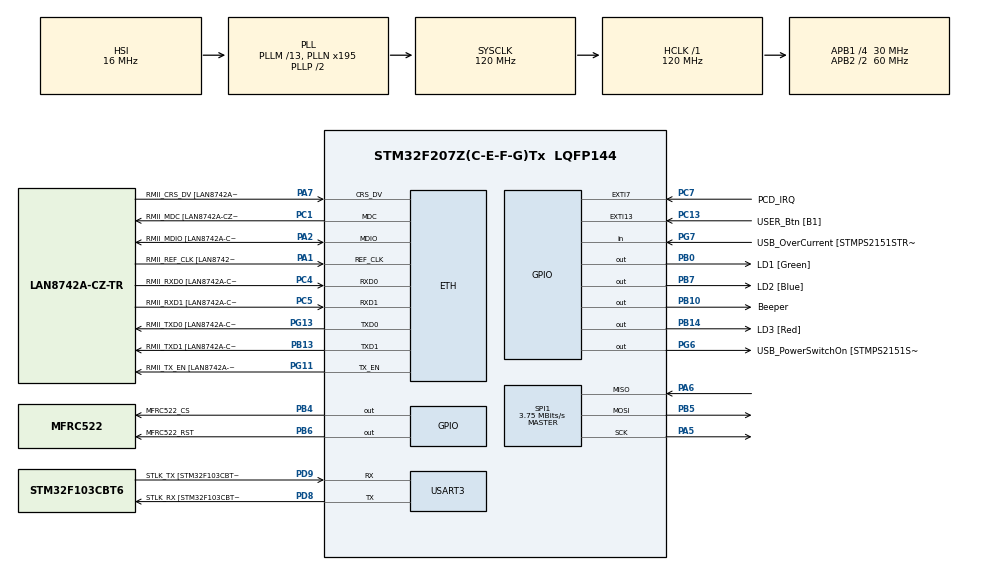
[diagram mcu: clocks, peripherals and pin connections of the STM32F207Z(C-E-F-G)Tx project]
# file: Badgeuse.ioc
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ETH.MediaInterface=ETH_MEDIA_INTERFACE_RMII
ETH.PHY_Name=LAN8742A_PHY_ADDRESS
ETH.PHY_Value=0
ETH.PhyAddress=0
LWIP.GATEWAY_ADDRESS=192.168.001.001
LWIP.IP_ADDRESS=192.168.001.002
LWIP.LWIP_DHCP=1
LWIP.LWIP_NETIF_LINK_CALLBACK=0
LWIP.LWIP_SNTP=1
LWIP.NETMASK_ADDRESS=255.255.255.000
LWIP.TCP_DEBUG=LWIP_DBG_OFF
LWIP.Version=v2.0.0_Cube
Mcu.Family=STM32F2
Mcu.Name=STM32F207Z(C-E-F-G)Tx
Mcu.Package=LQFP144
NVIC.PriorityGroup=NVIC_PRIORITYGROUP_4
NVIC.TIM2_IRQn=true\:0\:0\:false\:false\:true\:true\:true
PA1.GPIO_Label=RMII_REF_CLK [LAN8742A-CZ-TR_REFCLK0]
PA1.Mode=RMII
PA1.Signal=ETH_REF_CLK
PA10.GPIO_Label=USB_ID
PA10.Signal=USB_OTG_FS_ID
PA11.GPIO_Label=USB_DM
PA11.Signal=USB_OTG_FS_DM
PA12.GPIO_Label=USB_DP
PA12.Signal=USB_OTG_FS_DP
PA13.GPIO_Label=TMS
PA13.Mode=Serial_Wire
PA13.Signal=SYS_JTMS-SWDIO
PA14.GPIO_Label=TCK
PA14.Mode=Serial_Wire
PA14.Signal=SYS_JTCK-SWCLK
PA2.GPIO_Label=RMII_MDIO [LAN8742A-CZ-TR_MDIO]
PA2.Mode=RMII
PA2.Signal=ETH_MDIO
PA5.Mode=Full_Duplex_Master
PA5.Signal=SPI1_SCK
PA6.Mode=Full_Duplex_Master
PA6.Signal=SPI1_MISO
PA7.GPIO_Label=RMII_CRS_DV [LAN8742A-CZ-TR_CRS_DV]
PA7.Mode=RMII
PA7.Signal=ETH_CRS_DV
PA8.GPIO_Label=USB_SOF [TP1]
PA8.Signal=USB_OTG_FS_SOF
PA9.GPIO_Label=USB_VBUS
PA9.Signal=USB_OTG_FS_VBUS
PB0.GPIO_Label=LD1 [Green]
PB0.Signal=GPIO_Output
PB10.GPIO_Label=Beeper
PB10.Signal=GPIO_Output
PB13.GPIO_Label=RMII_TXD1 [LAN8742A-CZ-TR_TXD1]
PB13.Mode=RMII
PB13.Signal=ETH_TXD1
PB14.GPIO_Label=LD3 [Red]
PB14.Signal=GPIO_Output
PB3.GPIO_Label=SWO
PB3.Signal=SYS_JTDO-SWO
PB4.GPIO_Label=MFRC522_CS
PB4.Signal=GPIO_Output
PB5.Mode=Full_Duplex_Master
PB5.Signal=SPI1_MOSI
PB6.GPIO_Label=MFRC522_RST
PB6.Signal=GPIO_Output
PB7.GPIO_Label=LD2 [Blue]
PB7.Signal=GPIO_Output
PC1.GPIO_Label=RMII_MDC [LAN8742A-CZ-TR_MDC]
PC1.Mode=RMII
PC1.Signal=ETH_MDC
PC13.GPIO_Label=USER_Btn [B1]
PC13.Signal=GPXTI13
PC14-OSC32_IN.Mode=LSE-External-Oscillator
PC14-OSC32_IN.Signal=RCC_OSC32_IN
PC15-OSC32_OUT.Mode=LSE-External-Oscillator
PC15-OSC32_OUT.Signal=RCC_OSC32_OUT
PC4.GPIO_Label=RMII_RXD0 [LAN8742A-CZ-TR_RXD0]
PC4.Mode=RMII
PC4.Signal=ETH_RXD0
PC5.GPIO_Label=RMII_RXD1 [LAN8742A-CZ-TR_RXD1]
PC5.Mode=RMII
PC5.Signal=ETH_RXD1
PC7.GPIO_Label=PCD_IRQ
PC7.GPIO_ModeDefaultEXTI=GPIO_MODE_IT_RISING
PC7.Signal=GPXTI7
PD8.GPIO_Label=STLK_RX [STM32F103CBT6_PA3]
PD8.Mode=Asynchronous
PD8.Signal=USART3_TX
PD9.GPIO_Label=STLK_TX [STM32F103CBT6_PA2]
PD9.Mode=Asynchronous
PD9.Signal=USART3_RX
PG11.GPIO_Label=RMII_TX_EN [LAN8742A-CZ-TR_TXEN]
PG11.Mode=RMII
PG11.Signal=ETH_TX_EN
PG13.GPIO_Label=RMII_TXD0 [LAN8742A-CZ-TR_TXD0]
PG13.Mode=RMII
PG13.Signal=ETH_TXD0
PG6.GPIO_Label=USB_PowerSwitchOn [STMPS2151STR_EN]
PG6.Signal=GPIO_Output
PG7.GPIO_Label=USB_OverCurrent [STMPS2151STR_FAULT]
PG7.Signal=GPIO_Input
PH0-OSC_IN.GPIO_Label=MCO [STM32F103CBT6_PA8]
PH0-OSC_IN.Mode=HSE-External-Clock-Source
PH0-OSC_IN.Signal=RCC_OSC_IN
PH1-OSC_OUT.Mode=HSE-External-Clock-Source
PH1-OSC_OUT.Signal=RCC_OSC_OUT
ProjectManager.HeapSize=0x200
ProjectManager.StackSize=0x400
ProjectManager.TargetToolchain=SW4STM32
RCC.48MHZClocksFreq_Value=48000000
RCC.AHBFreq_Value=120000000
RCC.APB1CLKDivider=RCC_HCLK_DIV4
RCC.APB1Freq_Value=30000000
RCC.APB1TimFreq_Value=60000000
RCC.APB2CLKDivider=RCC_HCLK_DIV2
RCC.APB2Freq_Value=60000000
RCC.APB2TimFreq_Value=120000000
RCC.CortexFreq_Value=120000000
RCC.HCLKFreq_Value=120000000
RCC.HSE_VALUE=8000000
RCC.HSI_VALUE=16000000
RCC.PLLM=13
RCC.PLLMUL=RCC_PLL_MUL9
RCC.PLLN=195
RCC.PLLQ=5
RCC.PRESCALERUSB=RCC_USBCLKSOURCE_PLL_DIV1_5
RCC.RCC_RTC_Clock_Source=RCC_RTCCLKSOURCE_LSE
RCC.RCC_RTC_Clock_SourceVirtual=RCC_RTCCLKSOURCE_LSE
RCC.SYSCLKFreq_VALUE=120000000
RCC.SYSCLKSource=RCC_SYSCLKSOURCE_PLLCLK
RCC.SYSCLKSourceVirtual=RCC_SYSCLKSOURCE_PLLCLK
RCC.USBFreq_Value=48000000
RCC.VCOOutputFreq_Value=240000000
RTC.Date=5
RTC.Format=RTC_FORMAT_BIN
RTC.Hours=14
RTC.Month=RTC_MONTH_APRIL
RTC.WeekDay=RTC_WEEKDAY_FRIDAY
RTC.Year=19
SPI1.BaudRatePrescaler=SPI_BAUDRATEPRESCALER_16
SPI1.CalculateBaudRate=3.75 MBits/s
SPI1.Direction=SPI_DIRECTION_2LINES
SPI1.Mode=SPI_MODE_MASTER
SPI1.VirtualType=VM_MASTER
TIM2.ClockDivision=TIM_CLOCKDIVISION_DIV4
TIM2.Prescaler=150
USART3.VirtualMode=VM_ASYNC
VP_LWIP_VS_Enabled.Mode=Enabled
VP_RTC_VS_RTC_Activate.Mode=RTC_Enabled
VP_RTC_VS_RTC_Calendar.Mode=RTC_Calendar
VP_TIM2_VS_ClockSourceINT.Mode=Internal
VP_WWDG_VS_WWDG.Mode=WWDG_Activate
WWDG.Counter=127
WWDG.Prescaler=WWDG_PRESCALER_8
WWDG.Window=127
board=NUCLEO-F207ZG

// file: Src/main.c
/* USER CODE BEGIN Header */
/**
 ******************************************************************************
 * @file           : main.c
 * @brief          : Main program body
 ******************************************************************************
 * This notice applies to any and all portions of this file
 * that are not between comment pairs USER CODE BEGIN and
 * USER CODE END. Other portions of this file, whether
 * inserted by the user or by software development tools
 * are owned by their respective copyright owners.
 *
 * Copyright (c) 2018 STMicroelectronics International N.V.
 * All rights reserved.
 *
 * Redistribution and use in source and binary forms, with or without
 * modification, are permitted, provided that the following conditions are met:
 *
 * 1. Redistribution of source code must retain the above copyright notice,
 *    this list of conditions and the following disclaimer.
 * 2. Redistributions in binary form must reproduce the above copyright notice,
 *    this list of conditions and the following disclaimer in the documentation
 *    and/or other materials provided with the distribution.
 * 3. Neither the name of STMicroelectronics nor the names of other
 *    contributors to this software may be used to endorse or promote products
 *    derived from this software without specific written permission.
 * 4. This software, including modifications and/or derivative works of this
 *    software, must execute solely and exclusively on microcontroller or
 *    microprocessor devices manufactured by or for STMicroelectronics.
 * 5. Redistribution and use of this software other than as permitted under
 *    this license is void and will automatically terminate your rights under
 *    this license.
 *
 * THIS SOFTWARE IS PROVIDED BY STMICROELECTRONICS AND CONTRIBUTORS "AS IS"
 * AND ANY EXPRESS, IMPLIED OR STATUTORY WARRANTIES, INCLUDING, BUT NOT
 * LIMITED TO, THE IMPLIED WARRANTIES OF MERCHANTABILITY, FITNESS FOR A
 * PARTICULAR PURPOSE AND NON-INFRINGEMENT OF THIRD PARTY INTELLECTUAL PROPERTY
 * RIGHTS ARE DISCLAIMED TO THE FULLEST EXTENT PERMITTED BY LAW. IN NO EVENT
 * SHALL STMICROELECTRONICS OR CONTRIBUTORS BE LIABLE FOR ANY DIRECT, INDIRECT,
 * INCIDENTAL, SPECIAL, EXEMPLARY, OR CONSEQUENTIAL DAMAGES (INCLUDING, BUT NOT
 * LIMITED TO, PROCUREMENT OF SUBSTITUTE GOODS OR SERVICES; LOSS OF USE, DATA,
 * OR PROFITS; OR BUSINESS INTERRUPTION) HOWEVER CAUSED AND ON ANY THEORY OF
 * LIABILITY, WHETHER IN CONTRACT, STRICT LIABILITY, OR TORT (INCLUDING
 * NEGLIGENCE OR OTHERWISE) ARISING IN ANY WAY OUT OF THE USE OF THIS SOFTWARE,
 * EVEN IF ADVISED OF THE POSSIBILITY OF SUCH DAMAGE.
 *
 ******************************************************************************
 */
/* USER CODE END Header */

#include "main.h"
#include "lwip.h"
#include "rtc.h"
#include "spi.h"
#include "tim.h"
#include "usart.h"
#include "wwdg.h"
#include "gpio.h"

/* USER CODE BEGIN Includes */
#include <memory.h>
#include "database.h"
#include "timer.h"
#include "card_reader.h"
#include "scan_fifo.h"
#include "sntp.h"
#include "sntp_opts.h"
#include "beeper.h"
/* USER CODE END Includes */

void SystemClock_Config(void);

int main(void)
{
  /* USER CODE BEGIN 1 */
	uint32_t time_ref;
	uint8_t card_uid[ISO_14443_4_UID_SIZE];
	uint8_t uid_size;
	RTC_TimeTypeDef rtctime;
	RTC_DateTypeDef rtcdate;

	Scan sc =
	{
			.card_uid = {0},
			.timestamp = 0
	};

	ip4_addr_t ntp_server_ip;
  /* USER CODE END 1 */

  /* MCU Configuration--------------------------------------------------------*/

  /* Reset of all peripherals, Initializes the Flash interface and the Systick. */
  HAL_Init();

  /* Configure the system clock */
  SystemClock_Config();

  /* Initialize all configured peripherals */
  MX_GPIO_Init();
  MX_USART3_UART_Init();
  MX_LWIP_Init();
  MX_SPI1_Init();
  MX_RTC_Init();
  MX_TIM2_Init();
  MX_WWDG_Init();
  /* USER CODE BEGIN 2 */
	init_CYC_Timer();
	PCD_Init();
	fifoScanInit();
	printf("Hello world !\r\n");
	sntp_setoperatingmode(SNTP_OPMODE_POLL);
	IP4_ADDR(&ntp_server_ip, 51, 255, 141, 154);
	sntp_setserver(0, &ntp_server_ip);
	sntp_init();

	mark_CYC_Timer(&time_ref);
	HAL_TIM_Base_Start_IT(&htim2);

  /* USER CODE END 2 */

  /* Infinite loop */
  /* USER CODE BEGIN WHILE */
	while (1)
	{
		MX_LWIP_Process();
		DB_Process();
		beepProcess();

		if(getCardUid(card_uid, &uid_size)>0 && CYC_TO_US(elapsed_CYC_Timer(time_ref))>=2000000)
		{
			HAL_RTC_GetTime(&hrtc, &rtctime, RTC_FORMAT_BIN);
			HAL_RTC_GetDate(&hrtc, &rtcdate, RTC_FORMAT_BIN);
			printf("%d:%d:%d\n\n", rtctime.Hours, rtctime.Minutes, rtctime.Seconds);
			sc.timestamp = 0;
			sc.timestamp = (rtcdate.Year & 0x7F) << 20 | (rtcdate.Month & 0x0F) << 16 | (rtcdate.Date & 0x1F) << 11 | ((rtctime.Hours) & 0x1F) << 6 | (rtctime.Minutes & 0x3F);
			memcpy(sc.card_uid, card_uid, ISO_14443_4_UID_SIZE);
			fifoScanPut(&sc);

			HAL_GPIO_WritePin(LD2_GPIO_Port, LD2_Pin, GPIO_PIN_SET);
			beep(15000, 200);
			mark_CYC_Timer(&time_ref);
		}
		else if(CYC_TO_US(elapsed_CYC_Timer(time_ref))>=1000000)
		{
			HAL_GPIO_WritePin(LD2_GPIO_Port, LD2_Pin, GPIO_PIN_RESET);
		}

		HAL_WWDG_Refresh(&hwwdg);
    /* USER CODE END WHILE */

	}
}

void SystemClock_Config(void)
{
  RCC_OscInitTypeDef RCC_OscInitStruct = {0};
  RCC_ClkInitTypeDef RCC_ClkInitStruct = {0};
  RCC_PeriphCLKInitTypeDef PeriphClkInitStruct = {0};

  /** Initializes the CPU, AHB and APB busses clocks
  */
  RCC_OscInitStruct.OscillatorType = RCC_OSCILLATORTYPE_HSI|RCC_OSCILLATORTYPE_LSE;
  RCC_OscInitStruct.LSEState = RCC_LSE_ON;
  RCC_OscInitStruct.HSIState = RCC_HSI_ON;
  RCC_OscInitStruct.HSICalibrationValue = RCC_HSICALIBRATION_DEFAULT;
  RCC_OscInitStruct.PLL.PLLState = RCC_PLL_ON;
  RCC_OscInitStruct.PLL.PLLSource = RCC_PLLSOURCE_HSI;
  RCC_OscInitStruct.PLL.PLLM = 13;
  RCC_OscInitStruct.PLL.PLLN = 195;
  RCC_OscInitStruct.PLL.PLLP = RCC_PLLP_DIV2;
  RCC_OscInitStruct.PLL.PLLQ = 5;
  if (HAL_RCC_OscConfig(&RCC_OscInitStruct) != HAL_OK)
  {
    Error_Handler();
  }
  /** Initializes the CPU, AHB and APB busses clocks
  */
  RCC_ClkInitStruct.ClockType = RCC_CLOCKTYPE_HCLK|RCC_CLOCKTYPE_SYSCLK
                              |RCC_CLOCKTYPE_PCLK1|RCC_CLOCKTYPE_PCLK2;
  RCC_ClkInitStruct.SYSCLKSource = RCC_SYSCLKSOURCE_PLLCLK;
  RCC_ClkInitStruct.AHBCLKDivider = RCC_SYSCLK_DIV1;
  RCC_ClkInitStruct.APB1CLKDivider = RCC_HCLK_DIV4;
  RCC_ClkInitStruct.APB2CLKDivider = RCC_HCLK_DIV2;

  if (HAL_RCC_ClockConfig(&RCC_ClkInitStruct, FLASH_LATENCY_3) != HAL_OK)
  {
    Error_Handler();
  }
  PeriphClkInitStruct.PeriphClockSelection = RCC_PERIPHCLK_RTC;
  PeriphClkInitStruct.RTCClockSelection = RCC_RTCCLKSOURCE_LSE;
  if (HAL_RCCEx_PeriphCLKConfig(&PeriphClkInitStruct) != HAL_OK)
  {
    Error_Handler();
  }
}

void Error_Handler(void)
{
}

/************************ (C) COPYRIGHT STMicroelectronics *****END OF FILE****/
